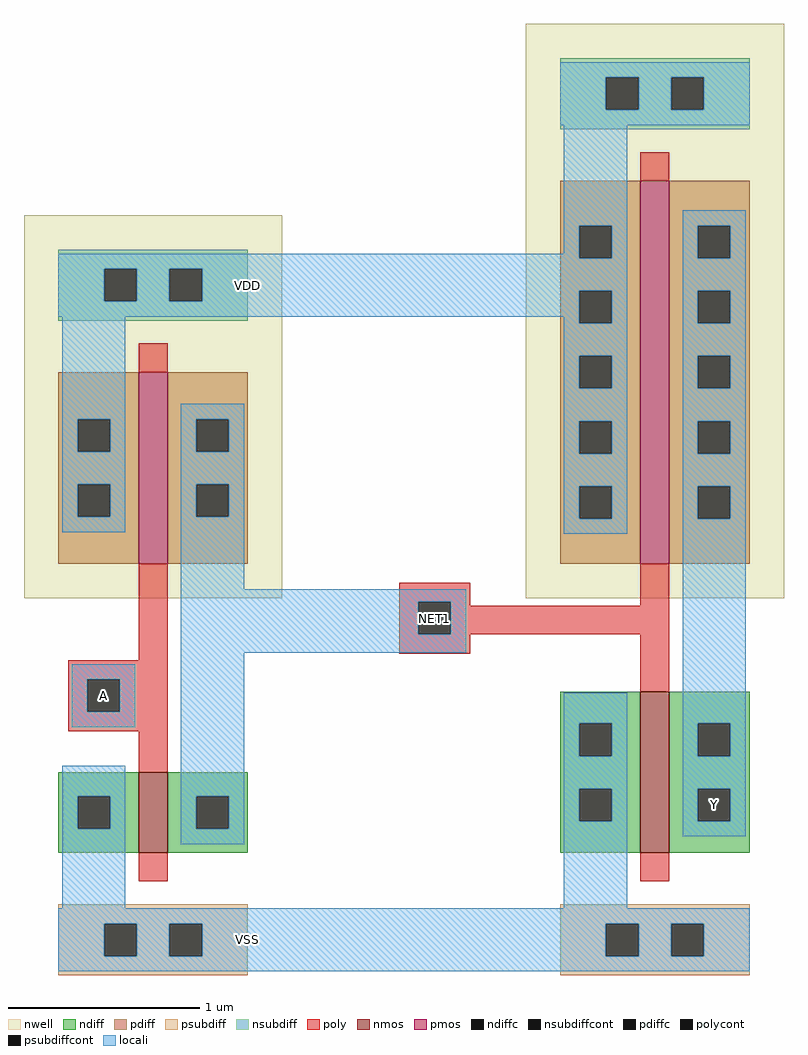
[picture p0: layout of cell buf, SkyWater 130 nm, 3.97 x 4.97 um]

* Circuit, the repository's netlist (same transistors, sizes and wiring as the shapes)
* NGSPICE file created from buf.ext - technology: sky130A

.subckt buf A Y VDD VSS
X0 Y NET1 VDD VDD sky130_fd_pr__pfet_01v8 ad=0.84 pd=4.84 as=0.84 ps=4.84 w=2 l=0.15
X1 NET1 A VSS VSS sky130_fd_pr__nfet_01v8 ad=0.1764 pd=1.68 as=0.1764 ps=1.68 w=0.42 l=0.15
X2 Y NET1 VSS VSS sky130_fd_pr__nfet_01v8 ad=0.3528 pd=2.52 as=0.3528 ps=2.52 w=0.84 l=0.15
X3 NET1 A VDD VDD sky130_fd_pr__pfet_01v8 ad=0.42 pd=2.84 as=0.42 ps=2.84 w=1 l=0.15
.ends

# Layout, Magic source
magic
tech sky130A
magscale 1 2
<< nwell >>
rect -36 -36 234 364
rect 488 -36 758 564
<< nmos >>
rect 84 -302 114 -218
rect 608 -302 638 -134
<< pmos >>
rect 84 0 114 200
rect 608 0 638 400
<< ndiff >>
rect 524 -167 608 -134
rect 524 -201 544 -167
rect 578 -201 608 -167
rect 0 -243 84 -218
rect 0 -277 20 -243
rect 54 -277 84 -243
rect 0 -302 84 -277
rect 114 -243 198 -218
rect 114 -277 144 -243
rect 178 -277 198 -243
rect 114 -302 198 -277
rect 524 -235 608 -201
rect 524 -269 544 -235
rect 578 -269 608 -235
rect 524 -302 608 -269
rect 638 -167 722 -134
rect 638 -201 668 -167
rect 702 -201 722 -167
rect 638 -235 722 -201
rect 638 -269 668 -235
rect 702 -269 722 -235
rect 638 -302 722 -269
<< pdiff >>
rect 524 353 608 400
rect 524 319 544 353
rect 578 319 608 353
rect 524 285 608 319
rect 524 251 544 285
rect 578 251 608 285
rect 524 217 608 251
rect 0 151 84 200
rect 0 117 20 151
rect 54 117 84 151
rect 0 83 84 117
rect 0 49 20 83
rect 54 49 84 83
rect 0 0 84 49
rect 114 151 198 200
rect 114 117 144 151
rect 178 117 198 151
rect 114 83 198 117
rect 114 49 144 83
rect 178 49 198 83
rect 114 0 198 49
rect 524 183 544 217
rect 578 183 608 217
rect 524 149 608 183
rect 524 115 544 149
rect 578 115 608 149
rect 524 81 608 115
rect 524 47 544 81
rect 578 47 608 81
rect 524 0 608 47
rect 638 353 722 400
rect 638 319 668 353
rect 702 319 722 353
rect 638 285 722 319
rect 638 251 668 285
rect 702 251 722 285
rect 638 217 722 251
rect 638 183 668 217
rect 702 183 722 217
rect 638 149 722 183
rect 638 115 668 149
rect 702 115 722 149
rect 638 81 722 115
rect 638 47 668 81
rect 702 47 722 81
rect 638 0 722 47
<< ndiffc >>
rect 544 -201 578 -167
rect 20 -277 54 -243
rect 144 -277 178 -243
rect 544 -269 578 -235
rect 668 -201 702 -167
rect 668 -269 702 -235
<< pdiffc >>
rect 544 319 578 353
rect 544 251 578 285
rect 20 117 54 151
rect 20 49 54 83
rect 144 117 178 151
rect 144 49 178 83
rect 544 183 578 217
rect 544 115 578 149
rect 544 47 578 81
rect 668 319 702 353
rect 668 251 702 285
rect 668 183 702 217
rect 668 115 702 149
rect 668 47 702 81
<< psubdiff >>
rect 0 -376 198 -356
rect 0 -410 48 -376
rect 82 -410 116 -376
rect 150 -410 198 -376
rect 0 -430 198 -410
rect 524 -376 722 -356
rect 524 -410 572 -376
rect 606 -410 640 -376
rect 674 -410 722 -376
rect 524 -430 722 -410
<< nsubdiff >>
rect 524 508 722 528
rect 524 474 572 508
rect 606 474 640 508
rect 674 474 722 508
rect 524 454 722 474
rect 0 308 198 328
rect 0 274 48 308
rect 82 274 116 308
rect 150 274 198 308
rect 0 254 198 274
<< psubdiffcont >>
rect 48 -410 82 -376
rect 116 -410 150 -376
rect 572 -410 606 -376
rect 640 -410 674 -376
<< nsubdiffcont >>
rect 572 474 606 508
rect 640 474 674 508
rect 48 274 82 308
rect 116 274 150 308
<< poly >>
rect 608 400 638 430
rect 84 200 114 230
rect 84 -101 114 0
rect 356 -40 430 -20
rect 356 -74 376 -40
rect 410 -44 430 -40
rect 608 -44 638 0
rect 410 -74 638 -44
rect 356 -94 430 -74
rect 10 -121 114 -101
rect 10 -155 30 -121
rect 64 -155 114 -121
rect 608 -134 638 -74
rect 10 -175 114 -155
rect 84 -218 114 -175
rect 84 -332 114 -302
rect 608 -332 638 -302
<< polycont >>
rect 376 -74 410 -40
rect 30 -155 64 -121
<< locali >>
rect 524 508 722 524
rect 524 474 572 508
rect 606 474 640 508
rect 674 474 722 508
rect 524 458 722 474
rect 528 353 594 458
rect 528 324 544 353
rect 0 319 544 324
rect 578 319 594 353
rect 0 308 594 319
rect 0 274 48 308
rect 82 274 116 308
rect 150 285 594 308
rect 150 274 544 285
rect 0 258 544 274
rect 4 151 70 258
rect 528 251 544 258
rect 578 251 594 285
rect 528 217 594 251
rect 528 183 544 217
rect 578 183 594 217
rect 4 117 20 151
rect 54 117 70 151
rect 4 83 70 117
rect 4 49 20 83
rect 54 49 70 83
rect 4 33 70 49
rect 128 151 194 167
rect 128 117 144 151
rect 178 117 194 151
rect 128 83 194 117
rect 128 49 144 83
rect 178 49 194 83
rect 128 -27 194 49
rect 528 149 594 183
rect 528 115 544 149
rect 578 115 594 149
rect 528 81 594 115
rect 528 47 544 81
rect 578 47 594 81
rect 528 31 594 47
rect 652 353 718 369
rect 652 319 668 353
rect 702 319 718 353
rect 652 285 718 319
rect 652 251 668 285
rect 702 251 718 285
rect 652 217 718 251
rect 652 183 668 217
rect 702 183 718 217
rect 652 149 718 183
rect 652 115 668 149
rect 702 115 718 149
rect 652 81 718 115
rect 652 47 668 81
rect 702 47 718 81
rect 128 -40 426 -27
rect 128 -74 376 -40
rect 410 -74 426 -40
rect 128 -93 426 -74
rect 14 -121 80 -105
rect 14 -155 30 -121
rect 64 -155 80 -121
rect 14 -171 80 -155
rect 4 -243 70 -211
rect 4 -277 20 -243
rect 54 -277 70 -243
rect 4 -360 70 -277
rect 128 -243 194 -93
rect 128 -277 144 -243
rect 178 -277 194 -243
rect 128 -293 194 -277
rect 528 -167 594 -135
rect 528 -201 544 -167
rect 578 -201 594 -167
rect 528 -235 594 -201
rect 528 -269 544 -235
rect 578 -269 594 -235
rect 528 -360 594 -269
rect 652 -167 718 47
rect 652 -201 668 -167
rect 702 -201 718 -167
rect 652 -235 718 -201
rect 652 -269 668 -235
rect 702 -269 718 -235
rect 652 -285 718 -269
rect 0 -376 722 -360
rect 0 -410 48 -376
rect 82 -410 116 -376
rect 150 -410 572 -376
rect 606 -410 640 -376
rect 674 -410 722 -376
rect 0 -426 722 -410
<< labels >>
flabel locali 373 -77 413 -37 1 FreeSans 480 0 0 0 NET1
flabel locali 27 -158 67 -118 1 FreeSans 480 0 0 0 A
port 1 n
flabel locali 665 -272 705 -232 1 FreeSans 480 0 0 0 Y
port 2 n
flabel locali 178 271 218 311 1 FreeSans 480 0 0 0 VDD
port 3 n
flabel locali 178 -413 218 -373 1 FreeSans 480 0 0 0 VSS
port 4 n
<< end >>
